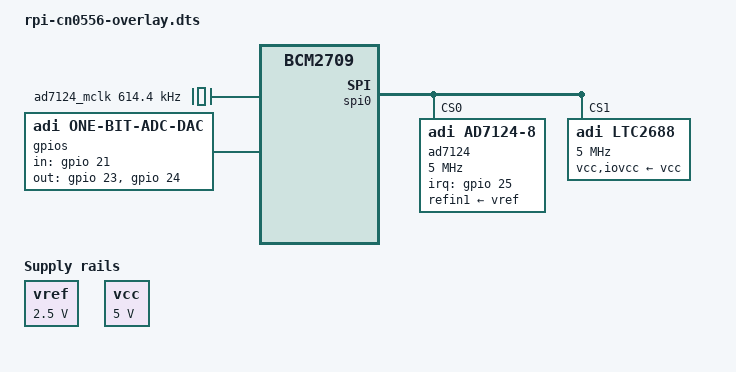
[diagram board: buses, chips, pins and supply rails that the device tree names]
/dts-v1/;
/plugin/;

#include <dt-bindings/gpio/gpio.h>

/ {
	compatible = "brcm,bcm2835", "brcm,bcm2708", "brcm,bcm2709";

	fragment@0 {
		target-path = "/";
		__overlay__ {
			vref: fixedregulator@0 {
				compatible = "regulator-fixed";
				regulator-name = "fixed-supply";
				regulator-min-microvolt = <2500000>;
				regulator-max-microvolt = <2500000>;
				regulator-boot-on;
			};
			vcc: fixedregulator@1 {
				compatible = "regulator-fixed";
				regulator-name = "vcc-supply";
				regulator-min-microvolt = <5000000>;
				regulator-max-microvolt = <5000000>;
			};
		};
	};

	fragment@1 {
		target-path = "/";
		__overlay__ {
			clocks {
				ad7124_mclk: clock@0 {
					#clock-cells = <0>;
					compatible = "fixed-clock";
					clock-frequency = <614400>;
				};
				
				ltc2688_tgp1: clock@1 {
					compatible = "fixed-clock";
					#clock-cells = <0>;
					clock-frequency = <262144>;
					clock-output-names = "TGP1";
				};

				ltc2688_tgp2: clock@2 {
					compatible = "fixed-clock";
					#clock-cells = <0>;
					clock-frequency = <131072>;
					clock-output-names = "TGP2";
				};
			};
		};
	};

	fragment@2 {
		target = <&spi0>;
		__overlay__ {
			#address-cells = <1>;
			#size-cells = <0>;
			status = "okay";

			ad7124@0 {
				compatible = "adi,ad7124-8";
				reg = <0>;
				spi-max-frequency = <5000000>;
				interrupts = <25 2>;
				interrupt-parent = <&gpio>;
				refin1-supply = <&vref>;
				clocks = <&ad7124_mclk>;
				clock-names = "mclk";

				#address-cells = <1>;
				#size-cells = <0>;

				channel@0 {
					reg = <0>;
					diff-channels = <0 1>;
				};

				channel@1 {
					reg = <1>;
					diff-channels = <2 3>;
				};

				channel@2 {
					reg = <2>;
					diff-channels = <4 5>;
				};

				channel@3 {
					reg = <3>;
					diff-channels = <6 7>;
				};

				channel@4 {
					reg = <4>;
					diff-channels = <8 9>;
				};

				channel@5 {
					reg = <5>;
					diff-channels = <10 11>;
				};

				channel@6 {
					reg = <6>;
					diff-channels = <12 13>;
				};

				channel@7 {
					reg = <7>;
					diff-channels = <14 15>;
				};
			};

			ltc2688@1 {
				compatible = "adi,ltc2688";
				reg = <1>;
				spi-max-frequency = <5000000>;

				#address-cells = <1>;
				#size-cells = <0>;
				
				vcc-supply = <&vcc>;
				iovcc-supply = <&vcc>;

				channel@0 {
					reg = <0>;
					adi,output-range-microvolt = <0 10000000>;
				};

				channel@1 {
					reg = <1>;
					adi,output-range-microvolt = <0 10000000>;
				};
				
				channel@2 {
					reg = <2>;
					adi,output-range-microvolt = <0 10000000>;
				};

				channel@3 {
					reg = <3>;
					adi,output-range-microvolt = <0 10000000>;
				};

				channel@4 {
					reg = <4>;
					adi,output-range-microvolt = <0 10000000>;
				};
				
				channel@5 {
					reg = <5>;
					adi,output-range-microvolt = <0 10000000>;
				};
				
				channel@6 {
					reg = <6>;
					adi,output-range-microvolt = <0 10000000>;
				};

				channel@7 {
					reg = <7>;
					adi,output-range-microvolt = <0 10000000>;
				};

				channel@8 {
					reg = <8>;
					adi,output-range-microvolt = <0 10000000>;
				};

				channel@9 {
					reg = <9>;
					adi,output-range-microvolt = <0 10000000>;
				};
				
				channel@10 {
					reg = <10>;
					adi,output-range-microvolt = <0 10000000>;
				};

				channel@11 {
					reg = <11>;
					adi,output-range-microvolt = <0 10000000>;
				};

				channel@12 {
					reg = <12>;
					adi,output-range-microvolt = <0 10000000>;
				};

				channel@13 {
					reg = <13>;
					adi,output-range-microvolt = <0 10000000>;
				};

				channel@14 {
					reg = <14>;
					adi,output-range-microvolt = <0 10000000>;
				};
				
				channel@15 {
					reg = <15>;
					adi,output-range-microvolt = <0 10000000>;
				};
			};
		};
	};

	fragment@3 {
		target = <&spidev0>;
		__overlay__ {
			status = "disabled";
		};
	};

	fragment@4 {
		target = <&spidev1>;
		__overlay__ {
			status = "disabled";
		};
	};
    
    fragment@5 {
		target-path = "/";
		__overlay__{
                one-bit-adc-dac@0{
                compatible = "adi, one-bit-adc-dac";
                label = "gpios";
                #address-cells = <1>;
                #size-cells = <0>;
                
                in-gpios = <&gpio 21 0>;
                out-gpios = <&gpio 23 0>, <&gpio 24 0>;
                
                status = "okay";
                channel@0{
                    reg = <0>;
                    label = "FAULT";
                };
                
                channel@1{
                    reg = <1>;
                    label = "EN";
                };
                
                channel@2{
                    reg = <2>;
                    label = "DRXN";
                };
            };
		};
	};
};
